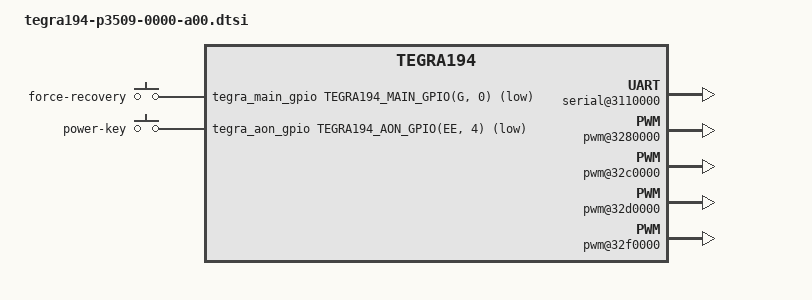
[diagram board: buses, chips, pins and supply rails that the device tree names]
/*
 * Copyright (c) 2019, NVIDIA CORPORATION.  All rights reserved.
 *
 * This program is free software; you can redistribute it and/or modify
 * it under the terms of the GNU General Public License as published by
 * the Free Software Foundation; version 2 of the License.
 *
 * This program is distributed in the hope that it will be useful, but WITHOUT
 * ANY WARRANTY; without even the implied warranty of MERCHANTABILITY or
 * FITNESS FOR A PARTICULAR PURPOSE.  See the GNU General Public License for
 * more details.
 */
#include <dt-bindings/gpio/tegra194-gpio.h>
#include "dt-bindings/input/input.h"
#include "tegra194-fixed-regulator-p3509-0000-a00.dtsi"
#include "tegra194-p3509-disp.dtsi"
#include "tegra194-audio-p3668.dtsi"
#include "tegra194-super-module-e2614-p3509.dtsi"
#include "tegra194-p3668-p3509-pcie-plugin-manager.dtsi"
#include "tegra194-camera-jakku-rbpcv2-imx219.dtsi"
/ {
	gpio-keys {
		compatible = "gpio-keys";
		gpio-keys,name = "gpio-keys";

		forcerecovery {
			label = "force-recovery";
			gpios = <&tegra_main_gpio TEGRA194_MAIN_GPIO(G, 0) GPIO_ACTIVE_LOW>;
			linux,code = <BTN_1>;
		};

		power_key {
			label = "power-key";
			gpios = <&tegra_aon_gpio TEGRA194_AON_GPIO(EE, 4) GPIO_ACTIVE_LOW>;
			linux,code = <KEY_POWER>;
			gpio-key,wakeup;
		};
	};
	eeprom-manager {
		data-size = <0x100>;
		bus@0 {
			i2c-bus = <&gen1_i2c>;
			eeprom@1 {
				slave-address = <0x57>;
				label = "cvb";
			};
		};

		bus@1 {
			i2c-bus = <&gen2_i2c>;
			eeprom@1 {
				slave-address = <0x50>;
				label = "super-module";
			};
		};
	};
	pwm-fan {
		pwms = <&tegra_pwm6 0 45334>;
		vdd-fan-supply = <&p3509_vdd_fan>;
		profiles {
			default = "quiet";
			quiet {
				state_cap = <4>;
				active_pwm = <0 80 120 160 255 255 255 255 255 255>;
			};
			/delete-node/ cool;
		};
	};
	thermal-fan-est {
		profiles {
			default = "quiet";
			quiet {
				active_trip_temps = <0 51000 61000 71000 82000
						140000 150000 160000 170000 180000>;
				active_hysteresis = <0 10000 9000 9000 10000
						0 0 0 0 0>;
			};
			/delete-node/ cool;
		};
	};
	serial@3110000 {
		status = "okay";
	};
	tachometer@39c0000 {
		status = "okay";
	};
	pwm@3280000 {
		status = "okay";
	};

	pwm@32c0000 {
		status = "okay";
	};

	pwm@32d0000 {
		status = "okay";
	};

	pwm@32f0000 {
		status = "okay";
	};
	spi@c260000 {
		status = "disabled";
	};

	spi@3300000 {
		status = "disabled";
	};
};
